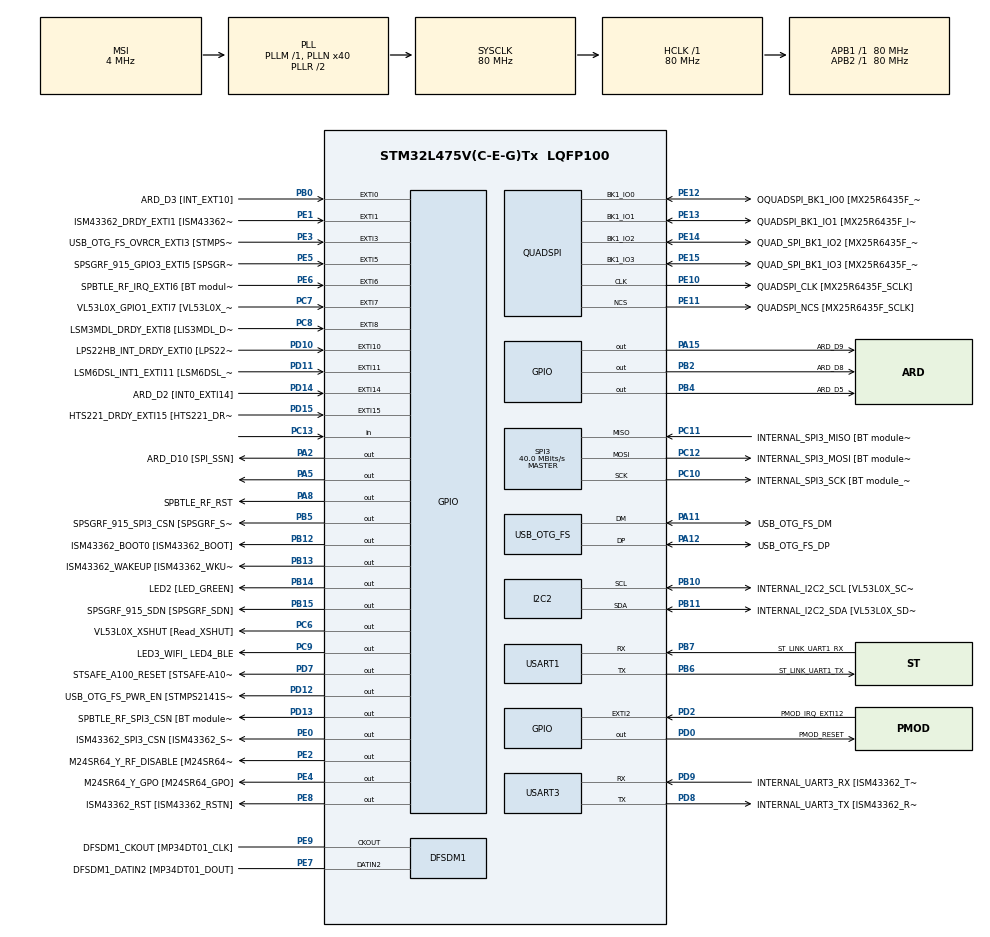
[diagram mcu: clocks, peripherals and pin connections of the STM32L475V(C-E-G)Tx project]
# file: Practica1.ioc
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I2C2.Timing=0x10909CEC
Mcu.Family=STM32L4
Mcu.Name=STM32L475V(C-E-G)Tx
Mcu.Package=LQFP100
NVIC.EXTI15_10_IRQn=true\:0\:0\:false\:false\:true\:true\:true\:true
NVIC.EXTI9_5_IRQn=true\:0\:0\:false\:false\:true\:true\:true\:true
NVIC.PriorityGroup=NVIC_PRIORITYGROUP_4
PA0.GPIO_Label=ARD_D1 [UART4_TX]
PA0.Signal=UART4_TX
PA1.GPIO_Label=ARD_D0 [UART4_RX]
PA1.Signal=UART4_RX
PA10.GPIO_Label=USB_OTG_FS_ID
PA10.Signal=USB_OTG_FS_ID
PA11.GPIO_Label=USB_OTG_FS_DM
PA11.Mode=Device_Only
PA11.Signal=USB_OTG_FS_DM
PA12.GPIO_Label=USB_OTG_FS_DP
PA12.Mode=Device_Only
PA12.Signal=USB_OTG_FS_DP
PA13\ (JTMS-SWDIO).GPIO_Label=SYS_JTMS_SWDIO
PA13\ (JTMS-SWDIO).Mode=Serial_Wire
PA13\ (JTMS-SWDIO).Signal=SYS_JTMS-SWDIO
PA14\ (JTCK-SWCLK).GPIO_Label=SYS_JTCK_SWCLK
PA14\ (JTCK-SWCLK).Mode=Serial_Wire
PA14\ (JTCK-SWCLK).Signal=SYS_JTCK-SWCLK
PA15\ (JTDI).GPIO_Label=ARD_D9
PA15\ (JTDI).Signal=GPIO_Output
PA2.GPIO_Label=ARD_D10 [SPI_SSN]
PA2.Signal=GPIO_Output
PA3.GPIO_Label=ARD_D4
PA3.Signal=S_TIM2_CH4
PA4.GPIO_Label=ARD_D7
PA4.Signal=ADCx_IN9
PA5.Signal=GPIO_Output
PA6.GPIO_Label=ARD_D12 [SPI1_MISO]
PA6.Signal=SPI1_MISO
PA7.GPIO_Label=ARD_D11 [SPI1_MOSI]
PA7.Signal=SPI1_MOSI
PA8.GPIO_Label=SPBTLE_RF_RST
PA8.Signal=GPIO_Output
PA9.GPIO_Label=USB_OTG_FS_VBUS [STMPS2141STR_OUT]
PA9.Signal=USB_OTG_FS_VBUS
PB0.GPIO_Label=ARD_D3 [INT_EXT10]
PB0.Signal=GPXTI0
PB1.GPIO_Label=ARD_D6 [ADC1_IN6]
PB1.Signal=ADCx_IN16
PB10.GPIO_Label=INTERNAL_I2C2_SCL [VL53L0X_SCL]
PB10.GPIO_Pu=GPIO_PULLUP
PB10.Mode=I2C
PB10.Signal=I2C2_SCL
PB11.GPIO_Label=INTERNAL_I2C2_SDA [VL53L0X_SDA]
PB11.GPIO_Pu=GPIO_PULLUP
PB11.Mode=I2C
PB11.Signal=I2C2_SDA
PB12.GPIO_Label=ISM43362_BOOT0 [ISM43362_BOOT]
PB12.Signal=GPIO_Output
PB13.GPIO_Label=ISM43362_WAKEUP [ISM43362_WKUP]
PB13.Signal=GPIO_Output
PB14.GPIO_Label=LED2 [LED_GREEN]
PB14.Signal=GPIO_Output
PB15.GPIO_Label=SPSGRF_915_SDN [SPSGRF_SDN]
PB15.Signal=GPIO_Output
PB2.GPIO_Label=ARD_D8
PB2.Signal=GPIO_Output
PB3\ (JTDO-TRACESWO).GPIO_Label=SYS_JTD0_SWO
PB3\ (JTDO-TRACESWO).Signal=SYS_JTDO-SWO
PB4\ (NJTRST).GPIO_Label=ARD_D5
PB4\ (NJTRST).Signal=GPIO_Output
PB5.GPIO_Label=SPSGRF_915_SPI3_CSN [SPSGRF_SPI_CS]
PB5.PinState=GPIO_PIN_SET
PB5.Signal=GPIO_Output
PB6.GPIO_Label=ST_LINK_UART1_TX
PB6.Mode=Asynchronous
PB6.Signal=USART1_TX
PB7.GPIO_Label=ST_LINK_UART1_RX
PB7.Mode=Asynchronous
PB7.Signal=USART1_RX
PB8.GPIO_Label=ARD_D15 [I2C1_SCL]
PB8.Signal=I2C1_SCL
PB9.GPIO_Label=ARD_D14 [I2C1_SDA]
PB9.Signal=I2C1_SDA
PC0.GPIO_Label=ARD_A5 [ADC]
PC0.Signal=ADCx_IN1
PC1.GPIO_Label=ARD_A4 [ADC]
PC1.Signal=ADCx_IN2
PC10.GPIO_Label=INTERNAL_SPI3_SCK [BT module_SPI_SCLK] [ISM43362_SCK]
PC10.Mode=Full_Duplex_Master
PC10.Signal=SPI3_SCK
PC11.GPIO_Label=INTERNAL_SPI3_MISO [BT module_SPI_MISO] [ISM43362_MISO]
PC11.Mode=Full_Duplex_Master
PC11.Signal=SPI3_MISO
PC12.GPIO_Label=INTERNAL_SPI3_MOSI [BT module_SPI_MOSI] [ISM43362_MOSI]
PC12.Mode=Full_Duplex_Master
PC12.Signal=SPI3_MOSI
PC13.Signal=GPIO_Input
PC14-OSC32_IN\ (PC14).Mode=LSE-External-Oscillator
PC14-OSC32_IN\ (PC14).Signal=RCC_OSC32_IN
PC15-OSC32_OUT\ (PC15).Mode=LSE-External-Oscillator
PC15-OSC32_OUT\ (PC15).Signal=RCC_OSC32_OUT
PC2.GPIO_Label=ARD_A3 [ADC]
PC2.Signal=ADCx_IN3
PC3.GPIO_Label=ARD_A2 [ADC]
PC3.Signal=ADCx_IN4
PC4.GPIO_Label=ARD_A1 [ADC]
PC4.Signal=ADCx_IN13
PC5.GPIO_Label=ARD_A0 [ADC]
PC5.Signal=ADCx_IN14
PC6.GPIO_Label=VL53L0X_XSHUT [Read_XSHUT]
PC6.Signal=GPIO_Output
PC7.GPIO_Label=VL53L0X_GPIO1_EXTI7 [VL53L0X_GPIO1]
PC7.Signal=GPXTI7
PC8.GPIO_Label=LSM3MDL_DRDY_EXTI8 [LIS3MDL_DRDY]
PC8.Signal=GPXTI8
PC9.GPIO_Label=LED3_WIFI_ LED4_BLE
PC9.Signal=GPIO_Output
PD0.GPIO_Label=PMOD_RESET
PD0.Signal=GPIO_Output
PD1.GPIO_Label=PMOD_SPI2_SCK
PD1.Signal=SPI2_SCK
PD10.GPIO_Label=LPS22HB_INT_DRDY_EXTI0 [LPS22HB_INT_DRDY] 
PD10.Signal=GPXTI10
PD11.GPIO_Label=LSM6DSL_INT1_EXTI11 [LSM6DSL_INT1]
PD11.Signal=GPXTI11
PD12.GPIO_Label=USB_OTG_FS_PWR_EN [STMPS2141STR_EN]
PD12.Signal=GPIO_Output
PD13.GPIO_Label=SPBTLE_RF_SPI3_CSN [BT module_SPI_CS]
PD13.PinState=GPIO_PIN_SET
PD13.Signal=GPIO_Output
PD14.GPIO_Label=ARD_D2 [INT0_EXTI14]
PD14.Signal=GPXTI14
PD15.GPIO_Label=HTS221_DRDY_EXTI15 [HTS221_DRDY]
PD15.Signal=GPXTI15
PD2.GPIO_Label=PMOD_IRQ_EXTI12
PD2.Signal=GPXTI2
PD3.GPIO_Label=PMOD_UART2_CTS
PD3.Signal=USART2_CTS
PD4.GPIO_Label=PMOD_UART2_RTS
PD4.Signal=USART2_RTS
PD5.GPIO_Label=PMOD_UART2_TX
PD5.Signal=USART2_TX
PD6.GPIO_Label=PMOD_UART2_RX
PD6.Signal=USART2_RX
PD7.GPIO_Label=STSAFE_A100_RESET [STSAFE-A100_RESET]
PD7.Signal=GPIO_Output
PD8.GPIO_Label=INTERNAL_UART3_TX [ISM43362_RX]
PD8.Mode=Asynchronous
PD8.Signal=USART3_TX
PD9.GPIO_Label=INTERNAL_UART3_RX [ISM43362_TX]
PD9.Mode=Asynchronous
PD9.Signal=USART3_RX
PE0.GPIO_Label=ISM43362_SPI3_CSN [ISM43362_SSN]
PE0.PinState=GPIO_PIN_SET
PE0.Signal=GPIO_Output
PE1.GPIO_Label=ISM43362_DRDY_EXTI1 [ISM43362_DATARDY]
PE1.Signal=GPXTI1
PE10.GPIO_Label=QUADSPI_CLK [MX25R6435F_SCLK]
PE10.Mode=Single Bank
PE10.Signal=QUADSPI_CLK
PE11.GPIO_Label=QUADSPI_NCS [MX25R6435F_SCLK]
PE11.Mode=Single Bank
PE11.Signal=QUADSPI_NCS
PE12.GPIO_Label=OQUADSPI_BK1_IO0 [MX25R6435F_IO0]
PE12.Mode=Single Bank
PE12.Signal=QUADSPI_BK1_IO0
PE13.GPIO_Label=QUADSPI_BK1_IO1 [MX25R6435F_IO1]
PE13.Mode=Single Bank
PE13.Signal=QUADSPI_BK1_IO1
PE14.GPIO_Label=QUAD_SPI_BK1_IO2 [MX25R6435F_IO2]
PE14.Mode=Single Bank
PE14.Signal=QUADSPI_BK1_IO2
PE15.GPIO_Label=QUAD_SPI_BK1_IO3 [MX25R6435F_IO3]
PE15.Mode=Single Bank
PE15.Signal=QUADSPI_BK1_IO3
PE2.GPIO_Label=M24SR64_Y_RF_DISABLE [M24SR64_RFDIS]
PE2.Signal=GPIO_Output
PE3.GPIO_Label=USB_OTG_FS_OVRCR_EXTI3 [STMPS2141STR_FAULT]
PE3.Signal=GPXTI3
PE4.GPIO_Label=M24SR64_Y_GPO [M24SR64_GPO]
PE4.Signal=GPIO_Output
PE5.GPIO_Label=SPSGRF_915_GPIO3_EXTI5 [SPSGRF_GPIO_3]
PE5.Signal=GPXTI5
PE6.GPIO_Label=SPBTLE_RF_IRQ_EXTI6 [BT module_SPI_IRQ]
PE6.Signal=GPXTI6
PE7.GPIO_Label=DFSDM1_DATIN2 [MP34DT01_DOUT]
PE7.Signal=S_DATAIN2DFSDM1
PE8.GPIO_Label=ISM43362_RST [ISM43362_RSTN]
PE8.Signal=GPIO_Output
PE9.GPIO_Label=DFSDM1_CKOUT [MP34DT01_CLK]
PE9.Signal=S_CKOUTDFSDM1
ProjectManager.HeapSize=0x200
ProjectManager.StackSize=0x400
ProjectManager.TargetToolchain=STM32CubeIDE
QUADSPI.ClockPrescaler=2
QUADSPI.FifoThreshold=4
QUADSPI.FlashSize=23
QUADSPI.SampleShifting=QSPI_SAMPLE_SHIFTING_HALFCYCLE
RCC.ADCFreq_Value=48000000
RCC.AHBFreq_Value=80000000
RCC.APB1Freq_Value=80000000
RCC.APB1TimFreq_Value=80000000
RCC.APB2Freq_Value=80000000
RCC.APB2TimFreq_Value=80000000
RCC.CortexFreq_Value=80000000
RCC.HCLKFreq_Value=80000000
RCC.HSE_VALUE=8000000
RCC.HSI_VALUE=16000000
RCC.MSI_VALUE=4000000
RCC.PLLN=40
RCC.PLLSAI1N=24
RCC.SYSCLKFreq_VALUE=80000000
RCC.SYSCLKSource=RCC_SYSCLKSOURCE_PLLCLK
RCC.USBFreq_Value=48000000
RCC.VCOOutputFreq_Value=160000000
SH.ADCx_IN1.0=ADC1_IN1
SH.ADCx_IN13.0=ADC1_IN13
SH.ADCx_IN14.0=ADC1_IN14
SH.ADCx_IN16.0=ADC1_IN16
SH.ADCx_IN2.0=ADC1_IN2
SH.ADCx_IN3.0=ADC1_IN3
SH.ADCx_IN4.0=ADC1_IN4
SH.ADCx_IN9.0=ADC1_IN9
SH.S_CKOUTDFSDM1.0=DFSDM1_CKOUT,CKOUT
SH.S_CKOUTDFSDM1.1=DFSDM1_CKOUT,PDM_SPI_Input_from_ch12_and_Internal_Clock
SH.S_DATAIN2DFSDM1.0=DFSDM1_DATIN2,PDM_SPI_Input_from_ch12_and_Internal_Clock
SH.S_TIM2_CH4.0=TIM2_CH4
SPI3.CalculateBaudRate=40.0 MBits/s
SPI3.Direction=SPI_DIRECTION_2LINES
SPI3.Mode=SPI_MODE_MASTER
SPI3.VirtualType=VM_MASTER
USART1.VirtualMode-Asynchronous=VM_ASYNC
USART3.VirtualMode-Asynchronous=VM_ASYNC
USB_OTG_FS.VirtualMode=Device_Only
board=B-L475E-IOT01A2

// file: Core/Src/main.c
/* USER CODE BEGIN Header */
/**
  ******************************************************************************
  * @file           : main.c
  * @brief          : Main program body
  ******************************************************************************
  * @attention
  *
  * Copyright (c) 2024 STMicroelectronics.
  * All rights reserved.
  *
  * This software is licensed under terms that can be found in the LICENSE file
  * in the root directory of this software component.
  * If no LICENSE file comes with this software, it is provided AS-IS.
  *
  ******************************************************************************
  */
/* USER CODE END Header */
#include "main.h"

/* USER CODE BEGIN Includes */
#include "led_driver.h"
#include "joy_driver.h"
/* USER CODE END Includes */

DFSDM_Channel_HandleTypeDef hdfsdm1_channel1;

I2C_HandleTypeDef hi2c2;

QSPI_HandleTypeDef hqspi;

SPI_HandleTypeDef hspi3;

UART_HandleTypeDef huart1;
UART_HandleTypeDef huart3;

PCD_HandleTypeDef hpcd_USB_OTG_FS;

void SystemClock_Config(void);
static void MX_GPIO_Init(void);
static void MX_DFSDM1_Init(void);
static void MX_I2C2_Init(void);
static void MX_QUADSPI_Init(void);
static void MX_SPI3_Init(void);
static void MX_USART1_UART_Init(void);
static void MX_USART3_UART_Init(void);
static void MX_USB_OTG_FS_PCD_Init(void);

/* USER CODE BEGIN 0 */
void animation1(void) {
	int i;
	LED_Off(0);
	for (i = 0; i < 3; i++) {
		LED_Toggle(0);
		HAL_Delay(200);
		LED_Toggle(0);
		HAL_Delay(200);
	}
	LED_Off(0);
}
void animation2(void) {
	int i;
	LED_Off(1);
	LED_On(2);
	for (i = 0; i < 3; i++) {
		LED_Toggle(1);
		HAL_Delay(200);
		LED_Toggle(1);
		HAL_Delay(200);
	}
	LED_Off(1);
	LED_On(2);
}
void animation3(void) {
	int i;
	LED_Off(2);
	for (i = 0; i < 3; i++) {
		LED_Toggle(2);
		HAL_Delay(200);
		LED_Toggle(2);
		HAL_Delay(200);
	}
	LED_Off(2);
}
void animation4(void) {
	int i;
	for (i = 0; i < 3; i++) {
		LED_Toggle(i);
		HAL_Delay(200);
		LED_Toggle(i);
		HAL_Delay(200);
	}
}
/* USER CODE END 0 */

int main(void)
{

  /* MCU Configuration--------------------------------------------------------*/

  /* Reset of all peripherals, Initializes the Flash interface and the Systick. */
  HAL_Init();

  /* Configure the system clock */
  SystemClock_Config();

  /* Initialize all configured peripherals */
  MX_GPIO_Init();
  MX_DFSDM1_Init();
  MX_I2C2_Init();
  MX_QUADSPI_Init();
  MX_SPI3_Init();
  MX_USART1_UART_Init();
  MX_USART3_UART_Init();
  MX_USB_OTG_FS_PCD_Init();

  /* Infinite loop */
  /* USER CODE BEGIN WHILE */
  while (1)
  {
//	  HAL_GPIO_WritePin(GPIOA, GPIO_PIN_5, SET);
//	  HAL_GPIO_WritePin(GPIOA, GPIO_PIN_5, RESET);
//	  HAL_GPIO_TogglePin(GPIOA, GPIO_PIN_5);

//	  uint8_t nLed;
//	  for (nLed=0; nLed<3; nLed++){
//		  LED_Off(nLed);
//		  HAL_Delay(500);
//		  LED_On(nLed);
//		  HAL_Delay(500);
//		  LED_Off(nLed);
//		  HAL_Delay(500);
//		  LED_Toggle(nLed);
//		  HAL_Delay(500);
//	  }

		uint8_t button = ReadJoy();
		switch (button) {
		case 0:
			animation1();
			break;
		case 1:
			animation2();
			break;
		case 2:
			animation3();
			break;
		case 3:
			animation4();
			break;
		}
    /* USER CODE END WHILE */

  }
}

void SystemClock_Config(void)
{
  RCC_OscInitTypeDef RCC_OscInitStruct = {0};
  RCC_ClkInitTypeDef RCC_ClkInitStruct = {0};

  /** Configure the main internal regulator output voltage
  */
  if (HAL_PWREx_ControlVoltageScaling(PWR_REGULATOR_VOLTAGE_SCALE1) != HAL_OK)
  {
    Error_Handler();
  }

  /** Configure LSE Drive Capability
  */
  HAL_PWR_EnableBkUpAccess();
  __HAL_RCC_LSEDRIVE_CONFIG(RCC_LSEDRIVE_LOW);

  /** Initializes the RCC Oscillators according to the specified parameters
  * in the RCC_OscInitTypeDef structure.
  */
  RCC_OscInitStruct.OscillatorType = RCC_OSCILLATORTYPE_LSE|RCC_OSCILLATORTYPE_MSI;
  RCC_OscInitStruct.LSEState = RCC_LSE_ON;
  RCC_OscInitStruct.MSIState = RCC_MSI_ON;
  RCC_OscInitStruct.MSICalibrationValue = 0;
  RCC_OscInitStruct.MSIClockRange = RCC_MSIRANGE_6;
  RCC_OscInitStruct.PLL.PLLState = RCC_PLL_ON;
  RCC_OscInitStruct.PLL.PLLSource = RCC_PLLSOURCE_MSI;
  RCC_OscInitStruct.PLL.PLLM = 1;
  RCC_OscInitStruct.PLL.PLLN = 40;
  RCC_OscInitStruct.PLL.PLLP = RCC_PLLP_DIV7;
  RCC_OscInitStruct.PLL.PLLQ = RCC_PLLQ_DIV2;
  RCC_OscInitStruct.PLL.PLLR = RCC_PLLR_DIV2;
  if (HAL_RCC_OscConfig(&RCC_OscInitStruct) != HAL_OK)
  {
    Error_Handler();
  }

  /** Initializes the CPU, AHB and APB buses clocks
  */
  RCC_ClkInitStruct.ClockType = RCC_CLOCKTYPE_HCLK|RCC_CLOCKTYPE_SYSCLK
                              |RCC_CLOCKTYPE_PCLK1|RCC_CLOCKTYPE_PCLK2;
  RCC_ClkInitStruct.SYSCLKSource = RCC_SYSCLKSOURCE_PLLCLK;
  RCC_ClkInitStruct.AHBCLKDivider = RCC_SYSCLK_DIV1;
  RCC_ClkInitStruct.APB1CLKDivider = RCC_HCLK_DIV1;
  RCC_ClkInitStruct.APB2CLKDivider = RCC_HCLK_DIV1;

  if (HAL_RCC_ClockConfig(&RCC_ClkInitStruct, FLASH_LATENCY_4) != HAL_OK)
  {
    Error_Handler();
  }

  /** Enable MSI Auto calibration
  */
  HAL_RCCEx_EnableMSIPLLMode();
}

static void MX_DFSDM1_Init(void)
{

  hdfsdm1_channel1.Instance = DFSDM1_Channel1;
  hdfsdm1_channel1.Init.OutputClock.Activation = ENABLE;
  hdfsdm1_channel1.Init.OutputClock.Selection = DFSDM_CHANNEL_OUTPUT_CLOCK_SYSTEM;
  hdfsdm1_channel1.Init.OutputClock.Divider = 2;
  hdfsdm1_channel1.Init.Input.Multiplexer = DFSDM_CHANNEL_EXTERNAL_INPUTS;
  hdfsdm1_channel1.Init.Input.DataPacking = DFSDM_CHANNEL_STANDARD_MODE;
  hdfsdm1_channel1.Init.Input.Pins = DFSDM_CHANNEL_FOLLOWING_CHANNEL_PINS;
  hdfsdm1_channel1.Init.SerialInterface.Type = DFSDM_CHANNEL_SPI_RISING;
  hdfsdm1_channel1.Init.SerialInterface.SpiClock = DFSDM_CHANNEL_SPI_CLOCK_INTERNAL;
  hdfsdm1_channel1.Init.Awd.FilterOrder = DFSDM_CHANNEL_FASTSINC_ORDER;
  hdfsdm1_channel1.Init.Awd.Oversampling = 1;
  hdfsdm1_channel1.Init.Offset = 0;
  hdfsdm1_channel1.Init.RightBitShift = 0x00;
  if (HAL_DFSDM_ChannelInit(&hdfsdm1_channel1) != HAL_OK)
  {
    Error_Handler();
  }

}

static void MX_I2C2_Init(void)
{

  hi2c2.Instance = I2C2;
  hi2c2.Init.Timing = 0x10909CEC;
  hi2c2.Init.OwnAddress1 = 0;
  hi2c2.Init.AddressingMode = I2C_ADDRESSINGMODE_7BIT;
  hi2c2.Init.DualAddressMode = I2C_DUALADDRESS_DISABLE;
  hi2c2.Init.OwnAddress2 = 0;
  hi2c2.Init.OwnAddress2Masks = I2C_OA2_NOMASK;
  hi2c2.Init.GeneralCallMode = I2C_GENERALCALL_DISABLE;
  hi2c2.Init.NoStretchMode = I2C_NOSTRETCH_DISABLE;
  if (HAL_I2C_Init(&hi2c2) != HAL_OK)
  {
    Error_Handler();
  }

  /** Configure Analogue filter
  */
  if (HAL_I2CEx_ConfigAnalogFilter(&hi2c2, I2C_ANALOGFILTER_ENABLE) != HAL_OK)
  {
    Error_Handler();
  }

  /** Configure Digital filter
  */
  if (HAL_I2CEx_ConfigDigitalFilter(&hi2c2, 0) != HAL_OK)
  {
    Error_Handler();
  }

}

static void MX_QUADSPI_Init(void)
{

  /* QUADSPI parameter configuration*/
  hqspi.Instance = QUADSPI;
  hqspi.Init.ClockPrescaler = 2;
  hqspi.Init.FifoThreshold = 4;
  hqspi.Init.SampleShifting = QSPI_SAMPLE_SHIFTING_HALFCYCLE;
  hqspi.Init.FlashSize = 23;
  hqspi.Init.ChipSelectHighTime = QSPI_CS_HIGH_TIME_1_CYCLE;
  hqspi.Init.ClockMode = QSPI_CLOCK_MODE_0;
  if (HAL_QSPI_Init(&hqspi) != HAL_OK)
  {
    Error_Handler();
  }

}

static void MX_SPI3_Init(void)
{

  /* SPI3 parameter configuration*/
  hspi3.Instance = SPI3;
  hspi3.Init.Mode = SPI_MODE_MASTER;
  hspi3.Init.Direction = SPI_DIRECTION_2LINES;
  hspi3.Init.DataSize = SPI_DATASIZE_4BIT;
  hspi3.Init.CLKPolarity = SPI_POLARITY_LOW;
  hspi3.Init.CLKPhase = SPI_PHASE_1EDGE;
  hspi3.Init.NSS = SPI_NSS_SOFT;
  hspi3.Init.BaudRatePrescaler = SPI_BAUDRATEPRESCALER_2;
  hspi3.Init.FirstBit = SPI_FIRSTBIT_MSB;
  hspi3.Init.TIMode = SPI_TIMODE_DISABLE;
  hspi3.Init.CRCCalculation = SPI_CRCCALCULATION_DISABLE;
  hspi3.Init.CRCPolynomial = 7;
  hspi3.Init.CRCLength = SPI_CRC_LENGTH_DATASIZE;
  hspi3.Init.NSSPMode = SPI_NSS_PULSE_ENABLE;
  if (HAL_SPI_Init(&hspi3) != HAL_OK)
  {
    Error_Handler();
  }

}

static void MX_USART1_UART_Init(void)
{

  huart1.Instance = USART1;
  huart1.Init.BaudRate = 115200;
  huart1.Init.WordLength = UART_WORDLENGTH_8B;
  huart1.Init.StopBits = UART_STOPBITS_1;
  huart1.Init.Parity = UART_PARITY_NONE;
  huart1.Init.Mode = UART_MODE_TX_RX;
  huart1.Init.HwFlowCtl = UART_HWCONTROL_NONE;
  huart1.Init.OverSampling = UART_OVERSAMPLING_16;
  huart1.Init.OneBitSampling = UART_ONE_BIT_SAMPLE_DISABLE;
  huart1.AdvancedInit.AdvFeatureInit = UART_ADVFEATURE_NO_INIT;
  if (HAL_UART_Init(&huart1) != HAL_OK)
  {
    Error_Handler();
  }

}

static void MX_USART3_UART_Init(void)
{

  huart3.Instance = USART3;
  huart3.Init.BaudRate = 115200;
  huart3.Init.WordLength = UART_WORDLENGTH_8B;
  huart3.Init.StopBits = UART_STOPBITS_1;
  huart3.Init.Parity = UART_PARITY_NONE;
  huart3.Init.Mode = UART_MODE_TX_RX;
  huart3.Init.HwFlowCtl = UART_HWCONTROL_NONE;
  huart3.Init.OverSampling = UART_OVERSAMPLING_16;
  huart3.Init.OneBitSampling = UART_ONE_BIT_SAMPLE_DISABLE;
  huart3.AdvancedInit.AdvFeatureInit = UART_ADVFEATURE_NO_INIT;
  if (HAL_UART_Init(&huart3) != HAL_OK)
  {
    Error_Handler();
  }

}

static void MX_USB_OTG_FS_PCD_Init(void)
{

  hpcd_USB_OTG_FS.Instance = USB_OTG_FS;
  hpcd_USB_OTG_FS.Init.dev_endpoints = 6;
  hpcd_USB_OTG_FS.Init.speed = PCD_SPEED_FULL;
  hpcd_USB_OTG_FS.Init.phy_itface = PCD_PHY_EMBEDDED;
  hpcd_USB_OTG_FS.Init.Sof_enable = DISABLE;
  hpcd_USB_OTG_FS.Init.low_power_enable = DISABLE;
  hpcd_USB_OTG_FS.Init.lpm_enable = DISABLE;
  hpcd_USB_OTG_FS.Init.battery_charging_enable = DISABLE;
  hpcd_USB_OTG_FS.Init.use_dedicated_ep1 = DISABLE;
  hpcd_USB_OTG_FS.Init.vbus_sensing_enable = DISABLE;
  if (HAL_PCD_Init(&hpcd_USB_OTG_FS) != HAL_OK)
  {
    Error_Handler();
  }

}

static void MX_GPIO_Init(void)
{
  GPIO_InitTypeDef GPIO_InitStruct = {0};

  /* GPIO Ports Clock Enable */
  __HAL_RCC_GPIOE_CLK_ENABLE();
  __HAL_RCC_GPIOC_CLK_ENABLE();
  __HAL_RCC_GPIOA_CLK_ENABLE();
  __HAL_RCC_GPIOB_CLK_ENABLE();
  __HAL_RCC_GPIOD_CLK_ENABLE();

  /*Configure GPIO pin Output Level */
  HAL_GPIO_WritePin(GPIOE, M24SR64_Y_RF_DISABLE_Pin|M24SR64_Y_GPO_Pin|ISM43362_RST_Pin, GPIO_PIN_RESET);

  /*Configure GPIO pin Output Level */
  HAL_GPIO_WritePin(GPIOA, ARD_D10_Pin|GPIO_PIN_5|SPBTLE_RF_RST_Pin|ARD_D9_Pin, GPIO_PIN_RESET);

  /*Configure GPIO pin Output Level */
  HAL_GPIO_WritePin(GPIOB, ARD_D8_Pin|ISM43362_BOOT0_Pin|ISM43362_WAKEUP_Pin|LED2_Pin
                          |SPSGRF_915_SDN_Pin|ARD_D5_Pin, GPIO_PIN_RESET);

  /*Configure GPIO pin Output Level */
  HAL_GPIO_WritePin(GPIOD, USB_OTG_FS_PWR_EN_Pin|PMOD_RESET_Pin|STSAFE_A100_RESET_Pin, GPIO_PIN_RESET);

  /*Configure GPIO pin Output Level */
  HAL_GPIO_WritePin(SPBTLE_RF_SPI3_CSN_GPIO_Port, SPBTLE_RF_SPI3_CSN_Pin, GPIO_PIN_SET);

  /*Configure GPIO pin Output Level */
  HAL_GPIO_WritePin(GPIOC, VL53L0X_XSHUT_Pin|LED3_WIFI__LED4_BLE_Pin, GPIO_PIN_RESET);

  /*Configure GPIO pin Output Level */
  HAL_GPIO_WritePin(SPSGRF_915_SPI3_CSN_GPIO_Port, SPSGRF_915_SPI3_CSN_Pin, GPIO_PIN_SET);

  /*Configure GPIO pin Output Level */
  HAL_GPIO_WritePin(ISM43362_SPI3_CSN_GPIO_Port, ISM43362_SPI3_CSN_Pin, GPIO_PIN_SET);

  /*Configure GPIO pins : M24SR64_Y_RF_DISABLE_Pin M24SR64_Y_GPO_Pin ISM43362_RST_Pin ISM43362_SPI3_CSN_Pin */
  GPIO_InitStruct.Pin = M24SR64_Y_RF_DISABLE_Pin|M24SR64_Y_GPO_Pin|ISM43362_RST_Pin|ISM43362_SPI3_CSN_Pin;
  GPIO_InitStruct.Mode = GPIO_MODE_OUTPUT_PP;
  GPIO_InitStruct.Pull = GPIO_NOPULL;
  GPIO_InitStruct.Speed = GPIO_SPEED_FREQ_LOW;
  HAL_GPIO_Init(GPIOE, &GPIO_InitStruct);

  /*Configure GPIO pins : USB_OTG_FS_OVRCR_EXTI3_Pin SPSGRF_915_GPIO3_EXTI5_Pin SPBTLE_RF_IRQ_EXTI6_Pin ISM43362_DRDY_EXTI1_Pin */
  GPIO_InitStruct.Pin = USB_OTG_FS_OVRCR_EXTI3_Pin|SPSGRF_915_GPIO3_EXTI5_Pin|SPBTLE_RF_IRQ_EXTI6_Pin|ISM43362_DRDY_EXTI1_Pin;
  GPIO_InitStruct.Mode = GPIO_MODE_IT_RISING;
  GPIO_InitStruct.Pull = GPIO_NOPULL;
  HAL_GPIO_Init(GPIOE, &GPIO_InitStruct);

  /*Configure GPIO pin : PC13 */
  GPIO_InitStruct.Pin = GPIO_PIN_13;
  GPIO_InitStruct.Mode = GPIO_MODE_INPUT;
  GPIO_InitStruct.Pull = GPIO_NOPULL;
  HAL_GPIO_Init(GPIOC, &GPIO_InitStruct);

  /*Configure GPIO pins : ARD_A5_Pin ARD_A4_Pin ARD_A3_Pin ARD_A2_Pin
                           ARD_A1_Pin ARD_A0_Pin */
  GPIO_InitStruct.Pin = ARD_A5_Pin|ARD_A4_Pin|ARD_A3_Pin|ARD_A2_Pin
                          |ARD_A1_Pin|ARD_A0_Pin;
  GPIO_InitStruct.Mode = GPIO_MODE_ANALOG_ADC_CONTROL;
  GPIO_InitStruct.Pull = GPIO_NOPULL;
  HAL_GPIO_Init(GPIOC, &GPIO_InitStruct);

  /*Configure GPIO pins : ARD_D1_Pin ARD_D0_Pin */
  GPIO_InitStruct.Pin = ARD_D1_Pin|ARD_D0_Pin;
  GPIO_InitStruct.Mode = GPIO_MODE_AF_PP;
  GPIO_InitStruct.Pull = GPIO_NOPULL;
  GPIO_InitStruct.Speed = GPIO_SPEED_FREQ_VERY_HIGH;
  GPIO_InitStruct.Alternate = GPIO_AF8_UART4;
  HAL_GPIO_Init(GPIOA, &GPIO_InitStruct);

  /*Configure GPIO pins : ARD_D10_Pin PA5 SPBTLE_RF_RST_Pin ARD_D9_Pin */
  GPIO_InitStruct.Pin = ARD_D10_Pin|GPIO_PIN_5|SPBTLE_RF_RST_Pin|ARD_D9_Pin;
  GPIO_InitStruct.Mode = GPIO_MODE_OUTPUT_PP;
  GPIO_InitStruct.Pull = GPIO_NOPULL;
  GPIO_InitStruct.Speed = GPIO_SPEED_FREQ_LOW;
  HAL_GPIO_Init(GPIOA, &GPIO_InitStruct);

  /*Configure GPIO pin : ARD_D4_Pin */
  GPIO_InitStruct.Pin = ARD_D4_Pin;
  GPIO_InitStruct.Mode = GPIO_MODE_AF_PP;
  GPIO_InitStruct.Pull = GPIO_NOPULL;
  GPIO_InitStruct.Speed = GPIO_SPEED_FREQ_LOW;
  GPIO_InitStruct.Alternate = GPIO_AF1_TIM2;
  HAL_GPIO_Init(ARD_D4_GPIO_Port, &GPIO_InitStruct);

  /*Configure GPIO pin : ARD_D7_Pin */
  GPIO_InitStruct.Pin = ARD_D7_Pin;
  GPIO_InitStruct.Mode = GPIO_MODE_ANALOG_ADC_CONTROL;
  GPIO_InitStruct.Pull = GPIO_NOPULL;
  HAL_GPIO_Init(ARD_D7_GPIO_Port, &GPIO_InitStruct);

  /*Configure GPIO pins : ARD_D12_Pin ARD_D11_Pin */
  GPIO_InitStruct.Pin = ARD_D12_Pin|ARD_D11_Pin;
  GPIO_InitStruct.Mode = GPIO_MODE_AF_PP;
  GPIO_InitStruct.Pull = GPIO_NOPULL;
  GPIO_InitStruct.Speed = GPIO_SPEED_FREQ_VERY_HIGH;
  GPIO_InitStruct.Alternate = GPIO_AF5_SPI1;
  HAL_GPIO_Init(GPIOA, &GPIO_InitStruct);

  /*Configure GPIO pin : ARD_D3_Pin */
  GPIO_InitStruct.Pin = ARD_D3_Pin;
  GPIO_InitStruct.Mode = GPIO_MODE_IT_RISING;
  GPIO_InitStruct.Pull = GPIO_NOPULL;
  HAL_GPIO_Init(ARD_D3_GPIO_Port, &GPIO_InitStruct);

  /*Configure GPIO pin : ARD_D6_Pin */
  GPIO_InitStruct.Pin = ARD_D6_Pin;
  GPIO_InitStruct.Mode = GPIO_MODE_ANALOG_ADC_CONTROL;
  GPIO_InitStruct.Pull = GPIO_NOPULL;
  HAL_GPIO_Init(ARD_D6_GPIO_Port, &GPIO_InitStruct);

  /*Configure GPIO pins : ARD_D8_Pin ISM43362_BOOT0_Pin ISM43362_WAKEUP_Pin LED2_Pin
                           SPSGRF_915_SDN_Pin ARD_D5_Pin SPSGRF_915_SPI3_CSN_Pin */
  GPIO_InitStruct.Pin = ARD_D8_Pin|ISM43362_BOOT0_Pin|ISM43362_WAKEUP_Pin|LED2_Pin
                          |SPSGRF_915_SDN_Pin|ARD_D5_Pin|SPSGRF_915_SPI3_CSN_Pin;
  GPIO_InitStruct.Mode = GPIO_MODE_OUTPUT_PP;
  GPIO_InitStruct.Pull = GPIO_NOPULL;
  GPIO_InitStruct.Speed = GPIO_SPEED_FREQ_LOW;
  HAL_GPIO_Init(GPIOB, &GPIO_InitStruct);

  /*Configure GPIO pins : LPS22HB_INT_DRDY_EXTI0_Pin LSM6DSL_INT1_EXTI11_Pin ARD_D2_Pin HTS221_DRDY_EXTI15_Pin
                           PMOD_IRQ_EXTI12_Pin */
  GPIO_InitStruct.Pin = LPS22HB_INT_DRDY_EXTI0_Pin|LSM6DSL_INT1_EXTI11_Pin|ARD_D2_Pin|HTS221_DRDY_EXTI15_Pin
                          |PMOD_IRQ_EXTI12_Pin;
  GPIO_InitStruct.Mode = GPIO_MODE_IT_RISING;
  GPIO_InitStruct.Pull = GPIO_NOPULL;
  HAL_GPIO_Init(GPIOD, &GPIO_InitStruct);

  /*Configure GPIO pins : USB_OTG_FS_PWR_EN_Pin SPBTLE_RF_SPI3_CSN_Pin PMOD_RESET_Pin STSAFE_A100_RESET_Pin */
  GPIO_InitStruct.Pin = USB_OTG_FS_PWR_EN_Pin|SPBTLE_RF_SPI3_CSN_Pin|PMOD_RESET_Pin|STSAFE_A100_RESET_Pin;
  GPIO_InitStruct.Mode = GPIO_MODE_OUTPUT_PP;
  GPIO_InitStruct.Pull = GPIO_NOPULL;
  GPIO_InitStruct.Speed = GPIO_SPEED_FREQ_LOW;
  HAL_GPIO_Init(GPIOD, &GPIO_InitStruct);

  /*Configure GPIO pins : VL53L0X_XSHUT_Pin LED3_WIFI__LED4_BLE_Pin */
  GPIO_InitStruct.Pin = VL53L0X_XSHUT_Pin|LED3_WIFI__LED4_BLE_Pin;
  GPIO_InitStruct.Mode = GPIO_MODE_OUTPUT_PP;
  GPIO_InitStruct.Pull = GPIO_NOPULL;
  GPIO_InitStruct.Speed = GPIO_SPEED_FREQ_LOW;
  HAL_GPIO_Init(GPIOC, &GPIO_InitStruct);

  /*Configure GPIO pins : VL53L0X_GPIO1_EXTI7_Pin LSM3MDL_DRDY_EXTI8_Pin */
  GPIO_InitStruct.Pin = VL53L0X_GPIO1_EXTI7_Pin|LSM3MDL_DRDY_EXTI8_Pin;
  GPIO_InitStruct.Mode = GPIO_MODE_IT_RISING;
  GPIO_InitStruct.Pull = GPIO_NOPULL;
  HAL_GPIO_Init(GPIOC, &GPIO_InitStruct);

  /*Configure GPIO pin : PMOD_SPI2_SCK_Pin */
  GPIO_InitStruct.Pin = PMOD_SPI2_SCK_Pin;
  GPIO_InitStruct.Mode = GPIO_MODE_AF_PP;
  GPIO_InitStruct.Pull = GPIO_NOPULL;
  GPIO_InitStruct.Speed = GPIO_SPEED_FREQ_VERY_HIGH;
  GPIO_InitStruct.Alternate = GPIO_AF5_SPI2;
  HAL_GPIO_Init(PMOD_SPI2_SCK_GPIO_Port, &GPIO_InitStruct);

  /*Configure GPIO pins : PMOD_UART2_CTS_Pin PMOD_UART2_RTS_Pin PMOD_UART2_TX_Pin PMOD_UART2_RX_Pin */
  GPIO_InitStruct.Pin = PMOD_UART2_CTS_Pin|PMOD_UART2_RTS_Pin|PMOD_UART2_TX_Pin|PMOD_UART2_RX_Pin;
  GPIO_InitStruct.Mode = GPIO_MODE_AF_PP;
  GPIO_InitStruct.Pull = GPIO_NOPULL;
  GPIO_InitStruct.Speed = GPIO_SPEED_FREQ_VERY_HIGH;
  GPIO_InitStruct.Alternate = GPIO_AF7_USART2;
  HAL_GPIO_Init(GPIOD, &GPIO_InitStruct);

  /*Configure GPIO pins : ARD_D15_Pin ARD_D14_Pin */
  GPIO_InitStruct.Pin = ARD_D15_Pin|ARD_D14_Pin;
  GPIO_InitStruct.Mode = GPIO_MODE_AF_OD;
  GPIO_InitStruct.Pull = GPIO_NOPULL;
  GPIO_InitStruct.Speed = GPIO_SPEED_FREQ_VERY_HIGH;
  GPIO_InitStruct.Alternate = GPIO_AF4_I2C1;
  HAL_GPIO_Init(GPIOB, &GPIO_InitStruct);

  /* EXTI interrupt init*/
  HAL_NVIC_SetPriority(EXTI9_5_IRQn, 0, 0);
  HAL_NVIC_EnableIRQ(EXTI9_5_IRQn);

  HAL_NVIC_SetPriority(EXTI15_10_IRQn, 0, 0);
  HAL_NVIC_EnableIRQ(EXTI15_10_IRQn);

}

void Error_Handler(void)
{
  __disable_irq();
  while (1)
  {
  }
}
